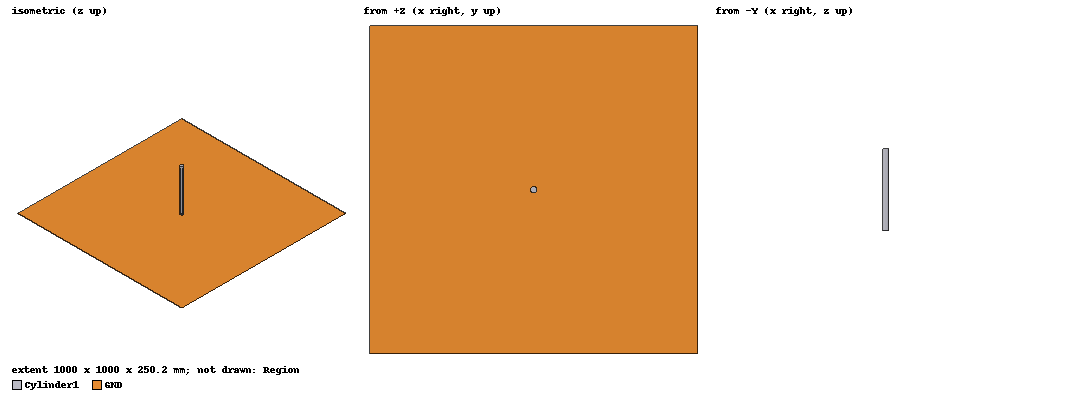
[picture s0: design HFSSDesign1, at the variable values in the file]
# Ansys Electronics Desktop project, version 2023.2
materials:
  vacuum: permittivity=1
  pec: conductivity=1e+30
  air: permittivity=1.0006 permeability=1.0000004

design HFSSDesign1 (HFSS, HFSS Modal Network, model units mm)
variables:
  width = 1000mm
  radius = 10mm
  height = 250mm
  GND = width
  gap = width/4000
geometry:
  GND = rectangle(corner=(-width/2, -width/2, 0mm), x_size=GND, y_size=GND)
  Cylinder1 [pec] = cylinder(axis=Z, base_centre=(0mm, 0mm, gap), radius=radius, height=height)
  port = rectangle(corner=(0mm, -radius, 0mm), y_size=2*radius, z_size=gap)
  Region [air] = region(absolute_offset=width/4 on all sides)
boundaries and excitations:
  Rad1: Radiation Objects=Region
  GND: Perfect E Objects=GND
  1: Lumped Port Objects=port LumpedPortType=Modal Modes{Mode1{IntLine{(0, 0, 0) -> (0, 0, 0.25)} CharImp=Zpi RenormImp=50ohm}} Impedance=50ohm
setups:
  Setup1: HfssDriven Frequency=300MHz MaxDeltaS=0.02 MaximumPasses=20 MinimumPasses=1 MinimumConvergedPasses=1 PercentRefinement=30 BasisOrder=1 PortAccuracy=2 DrivenSolverType="Direct Solver"
    sweep Sweep: 200MHz to 400MHz, 200 points; Type=Fast SaveFields
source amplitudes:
  1:1: 1W 0deg
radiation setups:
  E_Plane: Infinite Sphere Theta=-180deg..180deg step 1deg Phi=0deg..0deg step 0deg
  H_Plane: Infinite Sphere Theta=90deg..90deg step 0deg Phi=0deg..360deg step 1deg
  3D_Plane: Infinite Sphere Theta=0deg..180deg step 2deg Phi=-180deg..180deg step 2deg
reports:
  Z Parameter Plot 1: re(Z(1,1)), im(Z(1,1)) vs Freq on Setup1 : Sweep
  VSWR Plot 1: VSWR(1) vs Freq on Setup1 : Sweep
  Gain Plot 1: dB(GainTotal) vs Theta on Setup1 : LastAdaptive, E_Plane [Phi=all Freq=0.3GHz]
  Gain Plot 2: dB(GainTotal) vs Phi, Theta on Setup1 : LastAdaptive, 3D_Plane [Freq=0.3GHz]
